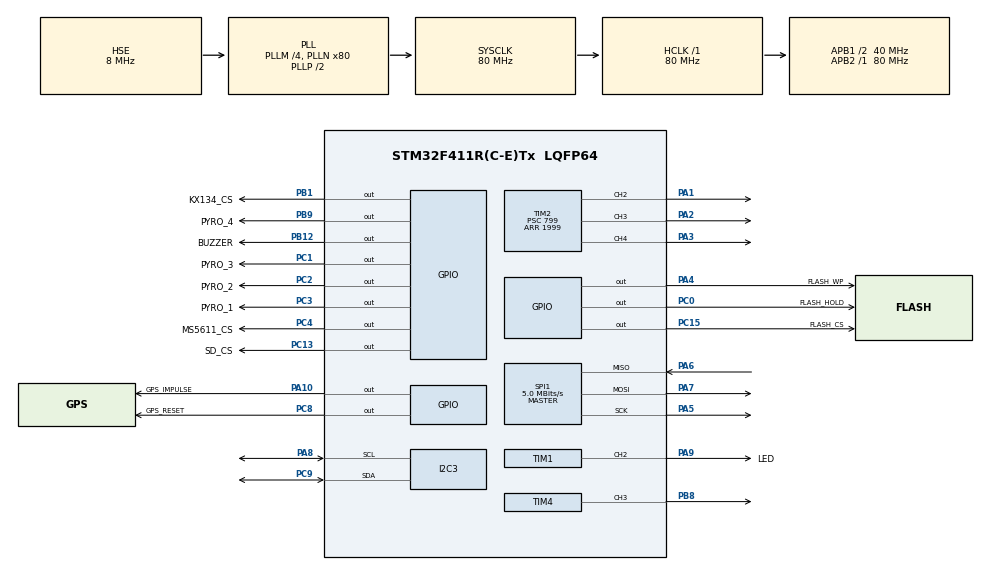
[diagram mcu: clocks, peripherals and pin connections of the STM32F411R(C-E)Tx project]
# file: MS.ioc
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Dma.Request0=TIM1_CH2
Dma.TIM1_CH2.0.Direction=DMA_MEMORY_TO_PERIPH
Dma.TIM1_CH2.0.FIFOMode=DMA_FIFOMODE_DISABLE
Dma.TIM1_CH2.0.Instance=DMA2_Stream2
Dma.TIM1_CH2.0.MemDataAlignment=DMA_MDATAALIGN_HALFWORD
Dma.TIM1_CH2.0.MemInc=DMA_MINC_ENABLE
Dma.TIM1_CH2.0.Mode=DMA_NORMAL
Dma.TIM1_CH2.0.PeriphDataAlignment=DMA_PDATAALIGN_HALFWORD
Dma.TIM1_CH2.0.PeriphInc=DMA_PINC_DISABLE
Dma.TIM1_CH2.0.Priority=DMA_PRIORITY_HIGH
FATFS._MAX_SS=4096
FATFS._USE_LFN=1
Mcu.Family=STM32F4
Mcu.Name=STM32F411R(C-E)Tx
Mcu.Package=LQFP64
NVIC.DMA2_Stream2_IRQn=true\:0\:0\:false\:false\:true\:false\:true\:true
NVIC.PriorityGroup=NVIC_PRIORITYGROUP_4
PA1.Signal=S_TIM2_CH2
PA10.GPIO_Label=GPS_IMPULSE
PA10.Signal=GPIO_Output
PA13.Mode=Serial_Wire
PA13.Signal=SYS_JTMS-SWDIO
PA14.Mode=Serial_Wire
PA14.Signal=SYS_JTCK-SWCLK
PA2.Signal=S_TIM2_CH3
PA3.Signal=S_TIM2_CH4
PA4.GPIO_Label=FLASH_WP
PA4.Signal=GPIO_Output
PA5.Mode=Full_Duplex_Master
PA5.Signal=SPI1_SCK
PA6.Mode=Full_Duplex_Master
PA6.Signal=SPI1_MISO
PA7.Mode=Full_Duplex_Master
PA7.Signal=SPI1_MOSI
PA8.Mode=I2C
PA8.Signal=I2C3_SCL
PA9.GPIO_Label=LED
PA9.Signal=S_TIM1_CH2
PB1.GPIO_Label=KX134_CS
PB1.PinState=GPIO_PIN_SET
PB1.Signal=GPIO_Output
PB12.GPIO_Label=BUZZER
PB12.Signal=GPIO_Output
PB8.Signal=S_TIM4_CH3
PB9.GPIO_Label=PYRO_4
PB9.GPIO_Speed=GPIO_SPEED_FREQ_MEDIUM
PB9.Signal=GPIO_Output
PC0.GPIO_Label=FLASH_HOLD
PC0.Signal=GPIO_Output
PC1.GPIO_Label=PYRO_3
PC1.GPIO_Speed=GPIO_SPEED_FREQ_MEDIUM
PC1.Signal=GPIO_Output
PC13-ANTI_TAMP.GPIO_Label=SD_CS
PC13-ANTI_TAMP.Signal=GPIO_Output
PC15-OSC32_OUT.GPIO_Label=FLASH_CS
PC15-OSC32_OUT.Signal=GPIO_Output
PC2.GPIO_Label=PYRO_2
PC2.GPIO_Speed=GPIO_SPEED_FREQ_MEDIUM
PC2.Signal=GPIO_Output
PC3.GPIO_Label=PYRO_1
PC3.GPIO_Speed=GPIO_SPEED_FREQ_MEDIUM
PC3.Signal=GPIO_Output
PC4.GPIO_Label=MS5611_CS
PC4.PinState=GPIO_PIN_SET
PC4.Signal=GPIO_Output
PC8.GPIO_Label=GPS_RESET
PC8.PinState=GPIO_PIN_SET
PC8.Signal=GPIO_Output
PC9.Mode=I2C
PC9.Signal=I2C3_SDA
PH0\ -\ OSC_IN.Mode=HSE-External-Oscillator
PH0\ -\ OSC_IN.Signal=RCC_OSC_IN
PH1\ -\ OSC_OUT.Mode=HSE-External-Oscillator
PH1\ -\ OSC_OUT.Signal=RCC_OSC_OUT
ProjectManager.HeapSize=0x200
ProjectManager.StackSize=0x400
ProjectManager.TargetToolchain=STM32CubeIDE
RCC.48MHZClocksFreq_Value=40000000
RCC.AHBFreq_Value=80000000
RCC.APB1CLKDivider=RCC_HCLK_DIV2
RCC.APB1Freq_Value=40000000
RCC.APB1TimFreq_Value=80000000
RCC.APB2Freq_Value=80000000
RCC.APB2TimFreq_Value=80000000
RCC.CortexFreq_Value=80000000
RCC.HCLKFreq_Value=80000000
RCC.HSE_VALUE=8000000
RCC.HSI_VALUE=16000000
RCC.LSE_VALUE=32768
RCC.PLLM=4
RCC.PLLN=80
RCC.PLLSourceVirtual=RCC_PLLSOURCE_HSE
RCC.SYSCLKFreq_VALUE=80000000
RCC.SYSCLKSource=RCC_SYSCLKSOURCE_PLLCLK
RCC.VCOOutputFreq_Value=160000000
SH.S_TIM1_CH2.0=TIM1_CH2,PWM Generation2 CH2
SH.S_TIM2_CH2.0=TIM2_CH2,PWM Generation2 CH2
SH.S_TIM2_CH3.0=TIM2_CH3,PWM Generation3 CH3
SH.S_TIM2_CH4.0=TIM2_CH4,PWM Generation4 CH4
SH.S_TIM4_CH3.0=TIM4_CH3,PWM Generation3 CH3
SPI1.BaudRatePrescaler=SPI_BAUDRATEPRESCALER_16
SPI1.CalculateBaudRate=5.0 MBits/s
SPI1.Direction=SPI_DIRECTION_2LINES
SPI1.Mode=SPI_MODE_MASTER
SPI1.VirtualType=VM_MASTER
TIM1.AutoReloadPreload=TIM_AUTORELOAD_PRELOAD_ENABLE
TIM1.Channel-PWM\ Generation2\ CH2=TIM_CHANNEL_2
TIM1.Period=99
TIM1.Prescaler=0
TIM2.AutoReloadPreload=TIM_AUTORELOAD_PRELOAD_ENABLE
TIM2.Channel-PWM\ Generation2\ CH2=TIM_CHANNEL_2
TIM2.Channel-PWM\ Generation3\ CH3=TIM_CHANNEL_3
TIM2.Channel-PWM\ Generation4\ CH4=TIM_CHANNEL_4
TIM2.Period=1999
TIM2.Prescaler=799
TIM4.AutoReloadPreload=TIM_AUTORELOAD_PRELOAD_ENABLE
TIM4.Channel-PWM\ Generation3\ CH3=TIM_CHANNEL_3
TIM4.Period=1999
TIM4.Prescaler=799
VP_FATFS_VS_Generic.Mode=User_defined
VP_TIM1_VS_ClockSourceINT.Mode=Internal
VP_TIM2_VS_ClockSourceINT.Mode=Internal
VP_TIM4_VS_ClockSourceINT.Mode=Internal
board=custom

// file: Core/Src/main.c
/* USER CODE BEGIN Header */
/**
  ******************************************************************************
  * @file           : main_rocket_fixed.c
  * @brief          : Máquina de estados del cohete con clock corregido
  ******************************************************************************
  */
/* USER CODE END Header */

#include "main.h"
#include "dma.h"
#include "fatfs.h"
#include "i2c.h"
#include "spi.h"
#include "tim.h"
#include "gpio.h"

// Hardware classes
#include "KX134.h"
#include "MS5611.h"
#include "ZOE_M8Q.h"
#include "WS2812B.h"
#include "Buzzer.h"
#include "SPIFlash.h"
#include "PyroChannels.h"
#include "ServoControl.h"
#include "SDLogger.h"
#include "RocketStateMachine.h"
#include <stdio.h>

// Hardware instances
KX134_t kx134;
MS5611_t ms5611;
ZOE_M8Q_t gps;
WS2812B_t led;
Buzzer_t buzzer;
SPIFlash_t spiflash;
ServoControl_t servo;
SDLogger_t sdlogger;

// Rocket state machine instance
RocketStateMachine_t rocket;

void SystemClock_Config(void);

int main(void)
{
    /* MCU Configuration--------------------------------------------------------*/
    HAL_Init();
    SystemClock_Config();

    /* Initialize all configured peripherals */
    MX_GPIO_Init();
    MX_DMA_Init();
    MX_TIM1_Init();
    MX_TIM2_Init();
    MX_TIM4_Init();
    MX_SPI1_Init();
    MX_I2C3_Init();
    MX_FATFS_Init();

    /* USER CODE BEGIN 2 */

    // Initial delay for stability
    HAL_Delay(2000);

    // Initialize LED FIRST for error indication
    WS2812B_Init(&led, &htim1, TIM_CHANNEL_2);
    WS2812B_SetColorRGB(&led, 255, 255, 255); // White = initializing

    // Initialize Buzzer for audio feedback
    Buzzer_Init(&buzzer);

    // Initialize SD card logger
    bool sd_ok = SDLogger_Init(&sdlogger);

    if (!sd_ok) {
        // SD initialization failed - LED red blink FAST
        while (1) {
            WS2812B_SetColorRGB(&led, 255, 0, 0);
            HAL_Delay(100);
            WS2812B_SetColorRGB(&led, 0, 0, 0);
            HAL_Delay(100);
        }
    }

    // Create debug log file
    if (!SDLogger_CreateDebugFile(&sdlogger)) {
        // Debug file creation failed - LED orange blink
        while (1) {
            WS2812B_SetColorRGB(&led, 255, 165, 0);
            HAL_Delay(200);
            WS2812B_SetColorRGB(&led, 0, 0, 0);
            HAL_Delay(200);
        }
    }

    // SD initialized successfully - LED green for 1 second
    WS2812B_SetColorRGB(&led, 0, 255, 0);
    HAL_Delay(1000);
	WS2812B_SetColorRGB(&led, 0, 0, 0);

    // Test write immediately
    SDLogger_WriteText(&sdlogger, "=== SYSTEM BOOT ===");
    SDLogger_WriteText(&sdlogger, "Master MCU Starting...");
    SDLogger_WriteText(&sdlogger, "SD Card initialization: SUCCESS");

    char test_msg[100];
    sprintf(test_msg, "System time: %lu ms", HAL_GetTick());
    SDLogger_WriteText(&sdlogger, test_msg);

    // Initialize pyro channels (safe by default)
    PyroChannels_Init();
    SDLogger_WriteText(&sdlogger, "Pyro channels initialized (safe mode)");

    // Initialize rocket state machine with all hardware
    if (!RocketStateMachine_Init(&rocket, &kx134, &ms5611, &gps, &led, &buzzer, &spiflash)) {
        // Initialization failed - enter error loop with red LED
        SDLogger_WriteText(&sdlogger, "ERROR: State machine initialization failed!");
        WS2812B_SetColorRGB(&led, 255, 0, 0);
        while (1) {
            HAL_Delay(500);
        }
    }

    SDLogger_WriteText(&sdlogger, "State machine initialized successfully");

    /* USER CODE END 2 */

    /* Infinite loop */
    /* USER CODE BEGIN WHILE */
    while (1)
    {
        // Update rocket state machine
        RocketStateMachine_Update(&rocket);

        // Small delay to prevent excessive CPU usage (state machine handles timing internally)
        HAL_Delay(1);

        /* USER CODE END WHILE */
    }
}

void SystemClock_Config(void)
{
    RCC_OscInitTypeDef RCC_OscInitStruct = {0};
    RCC_ClkInitTypeDef RCC_ClkInitStruct = {0};

    __HAL_RCC_PWR_CLK_ENABLE();
    __HAL_PWR_VOLTAGESCALING_CONFIG(PWR_REGULATOR_VOLTAGE_SCALE1);

    RCC_OscInitStruct.OscillatorType = RCC_OSCILLATORTYPE_HSE;
    RCC_OscInitStruct.HSEState = RCC_HSE_ON;
    RCC_OscInitStruct.PLL.PLLState = RCC_PLL_ON;
    RCC_OscInitStruct.PLL.PLLSource = RCC_PLLSOURCE_HSE;
    RCC_OscInitStruct.PLL.PLLM = 4;     // ← 80MHz configuración
    RCC_OscInitStruct.PLL.PLLN = 80;    // ← 80MHz configuración
    RCC_OscInitStruct.PLL.PLLP = RCC_PLLP_DIV2;
    RCC_OscInitStruct.PLL.PLLQ = 4;
    HAL_RCC_OscConfig(&RCC_OscInitStruct);

    RCC_ClkInitStruct.ClockType = RCC_CLOCKTYPE_HCLK|RCC_CLOCKTYPE_SYSCLK
                                |RCC_CLOCKTYPE_PCLK1|RCC_CLOCKTYPE_PCLK2;
    RCC_ClkInitStruct.SYSCLKSource = RCC_SYSCLKSOURCE_PLLCLK;
    RCC_ClkInitStruct.AHBCLKDivider = RCC_SYSCLK_DIV1;
    RCC_ClkInitStruct.APB1CLKDivider = RCC_HCLK_DIV2;
    RCC_ClkInitStruct.APB2CLKDivider = RCC_HCLK_DIV1;

    HAL_RCC_ClockConfig(&RCC_ClkInitStruct, FLASH_LATENCY_2);  // ← 80MHz configuración
}

void Error_Handler(void)
{
    __disable_irq();
    while (1)
    {
    }
}
